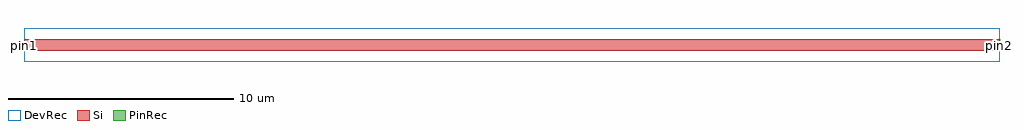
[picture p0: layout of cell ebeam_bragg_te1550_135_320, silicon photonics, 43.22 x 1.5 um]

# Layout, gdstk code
import gdstk
lib = gdstk.Library(unit=1e-6, precision=1e-09)
def R(c, l, rs):  # rectangles x0, y0, x1, y1
    for r in rs: c.add(gdstk.rectangle(r[:2], r[2:], *l))
def A(c, l, x, y, w, h, nx, ny, dx, dy):  # array of equal rectangles
    R(c, l, [(x+i*dx, y+j*dy, x+i*dx+w, y+j*dy+h) for i in range(nx) for j in range(ny)])
Si = (1, 0)
PinRec = (1, 10)
DevRec = (68, 0)

ebeam_bragg_te1550_135_3 = lib.new_cell('ebeam_bragg_te1550_135_320')
A(ebeam_bragg_te1550_135_3, Si, 0, -0.255, 0.16, 0.255, 135, 2, 0.32, 0.255)
A(ebeam_bragg_te1550_135_3, Si, 0.16, -0.245, 0.16, 0.245, 135, 2, 0.32, 0.245)
R(ebeam_bragg_te1550_135_3, DevRec, [(0,-0.75,43.2,0.75)])
ebeam_bragg_te1550_135_3.add(gdstk.FlexPath([(0.01,0),(-0.01,0)], 0.5, ends="flush", simple_path=True, layer=1, datatype=10))  # PinRec
ebeam_bragg_te1550_135_3.add(gdstk.FlexPath([(43.19,0),(43.21,0)], 0.5, ends="flush", simple_path=True, layer=1, datatype=10))  # PinRec
ebeam_bragg_te1550_135_3.add(gdstk.Label('pin1', (0,0), layer=1, texttype=10))
ebeam_bragg_te1550_135_3.add(gdstk.Label('pin2', (43.2,0), layer=1, texttype=10))
ebeam_bragg_te1550_135_3.add(gdstk.Label('Lumerical_INTERCONNECT_library=Design kits/ebeam', (0,0), layer=68, texttype=0))
ebeam_bragg_te1550_135_3.add(gdstk.Label('Component=ebeam_bragg_te1550', (4.32,0), layer=68, texttype=0))
ebeam_bragg_te1550_135_3.add(gdstk.Label('Spice_param:number_of_periods=135 grating_period=3.2e-07 corrugation_width=1e-08 misalignment=0 sinusoidal=0', (4.8,0), layer=68, texttype=0))

lib.write_gds('ebeam_bragg_te1550_135_320.gds')
